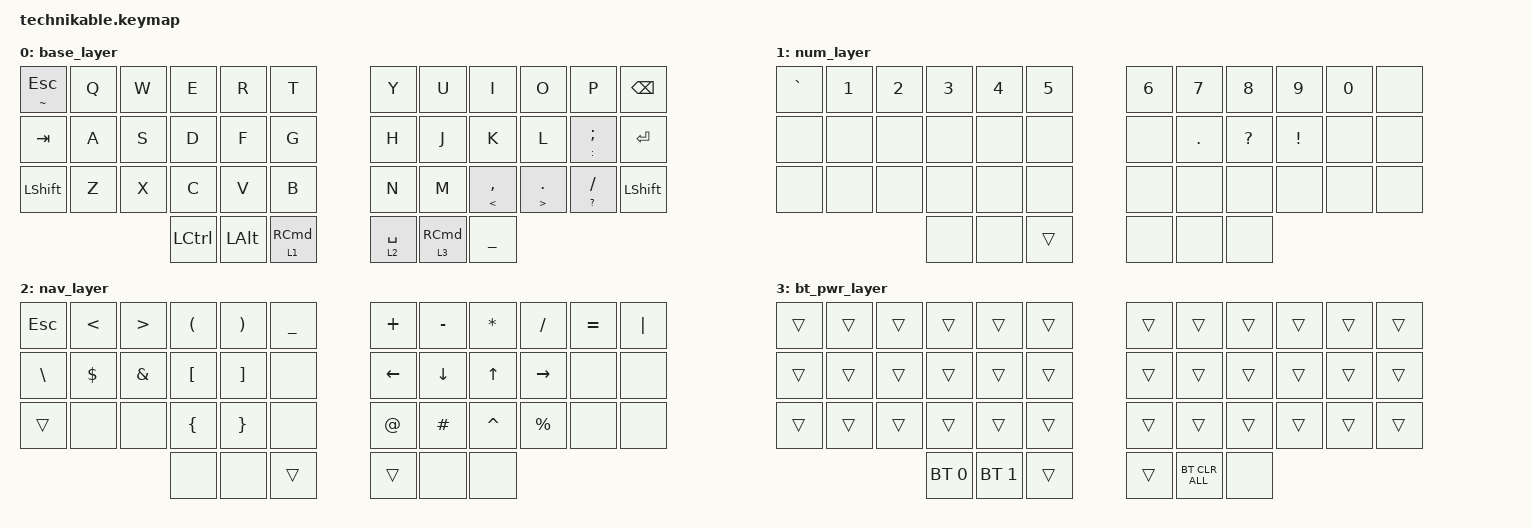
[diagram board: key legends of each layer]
/*
 * Copyright (c) 2022 Pete Johanson
 *
 * SPDX-License-Identifier: MIT
 */

#include <behaviors.dtsi>
#include <dt-bindings/zmk/bt.h>
#include <dt-bindings/zmk/keys.h>

#define BAS_L 0
#define NAV_L 1
#define NUM_L 2
#define SYM_L 3

// Using layer taps on thumbs, having quick tap as well helps w/ repeating space/backspace

&lt {
    quick_tap_ms = <200>;
    tapping-term-ms = <200>;
};

/ {
    chosen { zmk,matrix_transform = &dual_2u_transform; };

    conditional_layers { compatible = "zmk,conditional-layers"; };

    macros {
        taskmanager: taskmanager {
            compatible = "zmk,behavior-macro";
            #binding-cells = <0>;
            bindings = <&kp LEFT_CONTROL &kp LEFT_SHIFT &kp ESCAPE>;
            label = "TASKMANAGER";
        };

        Copy: Copy {
            compatible = "zmk,behavior-macro";
            #binding-cells = <0>;
            bindings = <&kp LC(S)>;
            label = "COPY";
        };

        Paste: Paste {
            compatible = "zmk,behavior-macro";
            #binding-cells = <0>;
            bindings = <&kp LS(V)>;
            label = "PASTE";
        };
    };

    combos { compatible = "zmk,combos"; };

    keymap {
        compatible = "zmk,keymap";

        base_layer {
            bindings = <
&mt TILDE ESC  &kp Q  &kp W      &kp E         &kp R                &kp T               &kp Y  &kp U                &kp I                &kp O                 &kp P              &kp BACKSPACE
&kp TAB        &kp A  &kp S      &kp D         &kp F                &kp G               &kp H  &kp J                &kp K                &kp L                 &mt COLON SEMI     &kp ENTER
&kp LSHFT      &kp Z  &kp X      &kp C         &kp V                &kp B               &kp N  &kp M                &mt LESS_THAN COMMA  &mt GREATER_THAN DOT  &mt QUESTION FSLH  &kp LEFT_SHIFT
                      &kp LCTRL  &kp LEFT_ALT  &lt 1 RIGHT_COMMAND         &lt 2 SPACE         &lt 3 RIGHT_COMMAND  &kp UNDER
            >;
        };

        num_layer {
            bindings = <
&kp GRAVE  &kp NUMBER_1  &kp NUMBER_2  &kp NUMBER_3  &kp NUMBER_4  &kp NUMBER_5         &kp NUMBER_6  &kp NUMBER_7  &kp NUMBER_8  &kp NUMBER_9  &kp NUMBER_0  &none
&none      &none         &none         &none         &none         &none                &none         &kp PERIOD    &kp QUESTION  &kp EXCL      &none         &none
&none      &none         &none         &none         &none         &none                &none         &none         &none         &none         &none         &none
                         &none         &none         &trans                      &none                &none         &none
            >;
        };

        nav_layer {
            bindings = <
&kp ESCAPE     &kp LESS_THAN  &kp GREATER_THAN  &kp LEFT_PARENTHESIS  &kp RIGHT_PARENTHESIS  &kp UNDER          &kp PLUS  &kp MINUS  &kp ASTERISK  &kp SLASH    &kp EQUAL  &kp PIPE
&kp BACKSLASH  &kp DOLLAR     &kp AMPERSAND     &kp LEFT_BRACKET      &kp RIGHT_BRACKET      &none              &kp LEFT  &kp DOWN   &kp UP_ARROW  &kp RIGHT    &none      &none
&trans         &none          &none             &kp LEFT_BRACE        &kp RIGHT_BRACE        &none              &kp AT    &kp HASH   &kp CARET     &kp PERCENT  &none      &none
                              &none             &none                 &trans                            &trans            &none      &none
            >;
        };

        bt_pwr_layer {
            bindings = <
&trans  &trans  &trans        &trans        &trans  &trans          &trans  &trans          &trans  &trans  &trans  &trans
&trans  &trans  &trans        &trans        &trans  &trans          &trans  &trans          &trans  &trans  &trans  &trans
&trans  &trans  &trans        &trans        &trans  &trans          &trans  &trans          &trans  &trans  &trans  &trans
                &bt BT_SEL 0  &bt BT_SEL 1  &trans          &trans          &bt BT_CLR_ALL  &none
            >;
        };
    };
};
